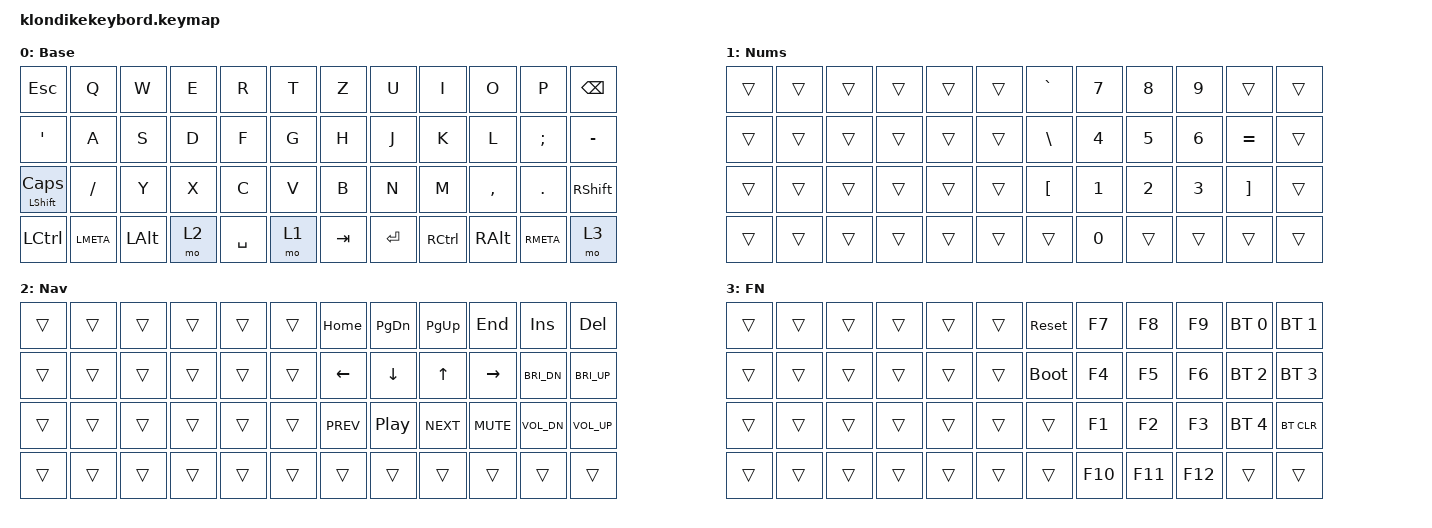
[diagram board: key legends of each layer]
#include <behaviors.dtsi>
#include <dt-bindings/zmk/keys.h>
#include <dt-bindings/zmk/bt.h>

/ {
    keymap {
        compatible = "zmk,keymap";
        default_layer {
            display-name = "Base";
            bindings = <
                        &kp ESC         &kp Q     &kp W     &kp E &kp R     &kp T &kp Z   &kp U     &kp I     &kp O     &kp P     &kp BSPC
                        &kp APOS        &kp A     &kp S     &kp D &kp F     &kp G &kp H   &kp J     &kp K     &kp L     &kp SEMI  &kp MINUS
                        &mt LSHIFT CAPS &kp FSLH  &kp Y     &kp X &kp C     &kp V &kp B   &kp N     &kp M     &kp COMMA &kp DOT   &kp RSHIFT
                        &kp LCTRL       &kp LMETA &kp LALT  &mo 2 &kp SPACE &mo 1 &kp TAB &kp ENTER &kp RCTRL &kp RALT  &kp RMETA &mo 3
                        >;
        };
        nums {
            display-name = "Nums";
            bindings = <
                        &trans &trans &trans &trans &trans &trans &kp GRAVE &kp N7 &kp N8 &kp N9 &trans    &trans
                        &trans &trans &trans &trans &trans &trans &kp BSLH  &kp N4 &kp N5 &kp N6 &kp EQUAL &trans
                        &trans &trans &trans &trans &trans &trans &kp LBKT  &kp N1 &kp N2 &kp N3 &kp RBKT  &trans
                        &trans &trans &trans &trans &trans &trans &trans    &kp N0 &trans &trans &trans    &trans
                        >;
        };
        nav {
            display-name = "Nav";
            bindings = <
                        &trans &trans &trans &trans &trans &trans &kp HOME   &kp PG_DN &kp PG_UP  &kp END    &kp INSERT   &kp DEL
                        &trans &trans &trans &trans &trans &trans &kp LEFT   &kp DOWN  &kp UP     &kp RIGHT  &kp C_BRI_DN &kp C_BRI_UP
                        &trans &trans &trans &trans &trans &trans &kp C_PREV &kp C_PP  &kp C_NEXT &kp C_MUTE &kp C_VOL_DN &kp C_VOL_UP
                        &trans &trans &trans &trans &trans &trans &trans     &trans    &trans     &trans     &trans       &trans
                        >;
        };
        fun {
            display-name = "FN";
            bindings = <
                        &trans &trans &trans &trans &trans &trans &sys_reset  &kp F7  &kp F8  &kp F9  &bt BT_SEL 0 &bt BT_SEL 1
                        &trans &trans &trans &trans &trans &trans &bootloader &kp F4  &kp F5  &kp F6  &bt BT_SEL 2 &bt BT_SEL 3
                        &trans &trans &trans &trans &trans &trans &trans      &kp F1  &kp F2  &kp F3  &bt BT_SEL 4 &bt BT_CLR
                        &trans &trans &trans &trans &trans &trans &trans      &kp F10 &kp F11 &kp F12 &trans       &trans       //&out OUT_TOG &trans
                        >;
        };
    };
};
